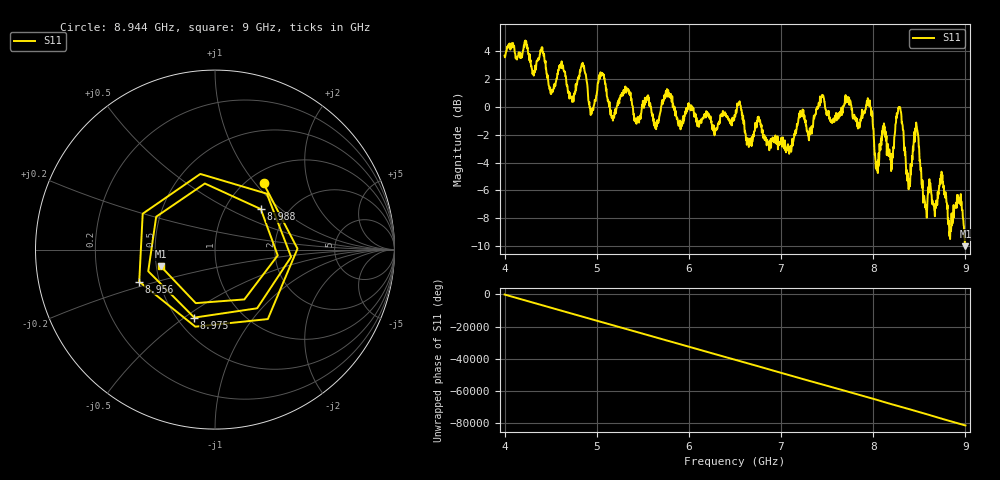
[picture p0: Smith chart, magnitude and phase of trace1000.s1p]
! Created with skrf 1.8.0 (http://scikit-rf.org).
# Hz S RI R 50.0
!freq ReS11 ImS11
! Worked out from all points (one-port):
!   1601 points, 4 GHz to 9 GHz, reference 50 ohm
!   lowest |S11| = -10.0 dB at 9 GHz (marker M1), VSWR 1.92, Z = 26.4 - j5.47 ohm
!   |S11| at or under -10 dB: 8.999057 GHz to end of sweep
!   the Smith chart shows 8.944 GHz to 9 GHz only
!   S11 on the Smith chart (normalised r, x): 8.944 GHz: 1.18, +1.10; 8.956 GHz: 0.38, -0.17; 8.975 GHz: 0.61, -0.55; 8.988 GHz: 1.46, +0.75; 9 GHz: 0.53, -0.11
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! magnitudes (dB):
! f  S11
! 4 GHz  3.7
! 4.406 GHz  4.1
! 4.506 GHz  0.9
! 4.625 GHz  2.8
! 4.728 GHz  0.6
! 4.856 GHz  3.0
! 4.941 GHz  -0.5
! 5.05 GHz  2.4
! 5.166 GHz  -0.7
! 5.25 GHz  0.6
! 5.875 GHz  -0.8
! 6.5 GHz  -0.7
! 7.125 GHz  -2.8
! 7.447 GHz  0.9
! 7.75 GHz  0.4
! 7.956 GHz  0.2
! 8.041 GHz  -4.4
! 8.109 GHz  -1.7
! 8.2 GHz  -4.2
! 8.281 GHz  0.0
! 8.375 GHz  -5.0
! 8.466 GHz  -1.1
! 8.562 GHz  -6.9
! 8.944 GHz  -6.8
! 8.956 GHz  -6.8
! 8.975 GHz  -8.0
! 8.988 GHz  -9.4
! 9 GHz  -10.0
